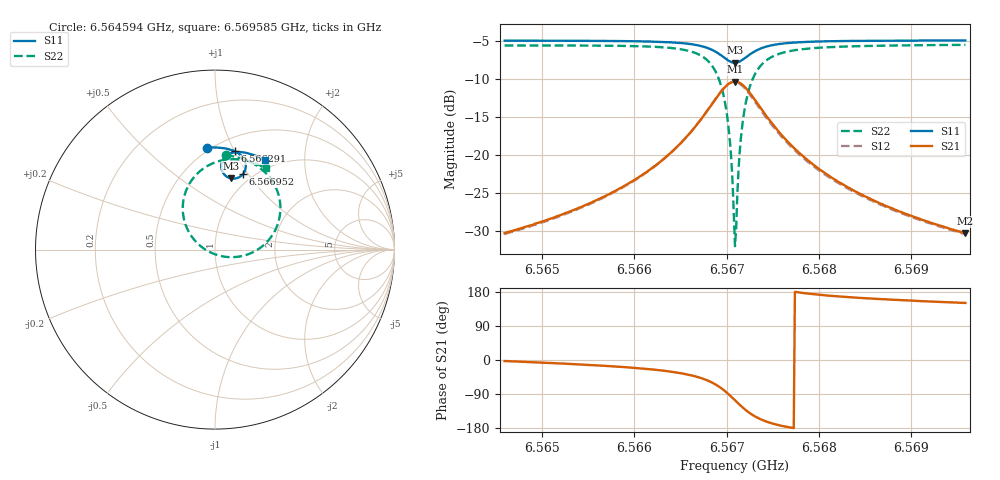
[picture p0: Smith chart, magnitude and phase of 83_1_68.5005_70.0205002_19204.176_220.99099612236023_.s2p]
#  HZ  S  RI  R  50.00
! Rohde & Schwarz Vector Network Analyzer
! Rohde-Schwarz,ZNB20-2Port,1311601062101988,3.16
! Created: UTC 3/20/2024, 4:52:14 PM
! freq[Hz]  re:S11  im:S11  re:S21  im:S21  re:S12  im:S12  re:S22  im:S22
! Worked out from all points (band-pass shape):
!   401 points, 6.564594 GHz to 6.569585 GHz, reference 50 ohm
!   highest |S21| = -10.28 dB at 6.56709 GHz (marker M1); lowest = -30.3 dB at 6.569585 GHz (marker M2)
!   |S21| within 3 dB of the highest: 6.566839 GHz to 6.567339 GHz (499.2 kHz wide, 0.0076 % of centre)
!   lowest |S11| = -7.8 dB at 6.56709 GHz (marker M3), VSWR 2.37, Z = 42.1 + j40.1 ohm
!   |S11| at or under -10 dB: nowhere
!   |S22| runs from -32.0 to -5.4 dB; largest |S21 - S12| = 0.015
!   S11 on the Smith chart (normalised r, x): 6.564594 GHz: 0.48, +0.80; 6.566291 GHz: 0.63, +1.00; 6.566952 GHz: 0.90, +0.95; 6.569585 GHz: 0.88, +1.30
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6.5645941e9  -0.0436 0.5679  0.0305 -0.00147  0.0301 -0.00192  0.0592 0.5258
6.5654301e9  0.0262 0.5674  0.0446 -0.00951  0.0439 -0.01  0.1426 0.5092
6.5662661e9  0.108 0.5488  0.0794 -0.0401  0.0782 -0.0411  0.2636 0.4446
6.5662911e9  0.1109 0.5475  0.0812 -0.0423  0.0801 -0.0433  0.2687 0.4404
6.5665656e9  0.1447 0.5251  0.1043 -0.0807  0.1028 -0.0826  0.3295 0.3646
6.5667527e9  0.1671 0.4911  0.1167 -0.1405  0.1139 -0.1436  0.3638 0.2489
6.566865e9  0.1709 0.4559  0.1047 -0.2027  0.0993 -0.2067  0.3456 0.1305
6.5669524e9  0.1565 0.4216  0.0627 -0.2614  0.053 -0.2646  0.2672 0.0214
6.5670148e9  0.1307 0.4014  0.00453 -0.2935  -0.00846 -0.2937  0.1586 -0.0341
6.5670397e9  0.1171 0.397  -0.0246 -0.2993  -0.0383 -0.2974  0.1054 -0.0419
6.5670771e9  0.0949 0.3959  -0.0709 -0.2974  -0.0847 -0.2919  0.0222 -0.0335
6.5670896e9  0.0874 0.3972  -0.0861 -0.2937  -0.0997 -0.2869  -0.00448 -0.0247
6.5671021e9  0.0801 0.3993  -0.101 -0.2885  -0.1141 -0.2805  -0.03 -0.0133
6.5671146e9  0.0733 0.4022  -0.1153 -0.2818  -0.1276 -0.2727  -0.0543 0.000335
6.5671395e9  0.0606 0.41  -0.1409 -0.2647  -0.1515 -0.2539  -0.0972 0.0342
6.567177e9  0.0463 0.4258  -0.1706 -0.2329  -0.1783 -0.2201  -0.1441 0.095
6.5672269e9  0.0361 0.4494  -0.1932 -0.1859  -0.1964 -0.1729  -0.1752 0.1805
6.5672893e9  0.0359 0.4771  -0.1991 -0.1321  -0.1985 -0.1209  -0.176 0.2747
6.5675139e9  0.0737 0.5296  -0.1524 -0.0298  -0.1489 -0.025  -0.0714 0.4469
6.5679256e9  0.1368 0.5436  -0.0872 0.00905  -0.085 0.0105  0.0723 0.5025
6.5687616e9  0.2185 0.5257  -0.0424 0.0158  -0.0414 0.0161  0.2045 0.4873
6.5695851e9  0.2811 0.4971  -0.0266 0.015  -0.0259 0.0152  0.2815 0.454
